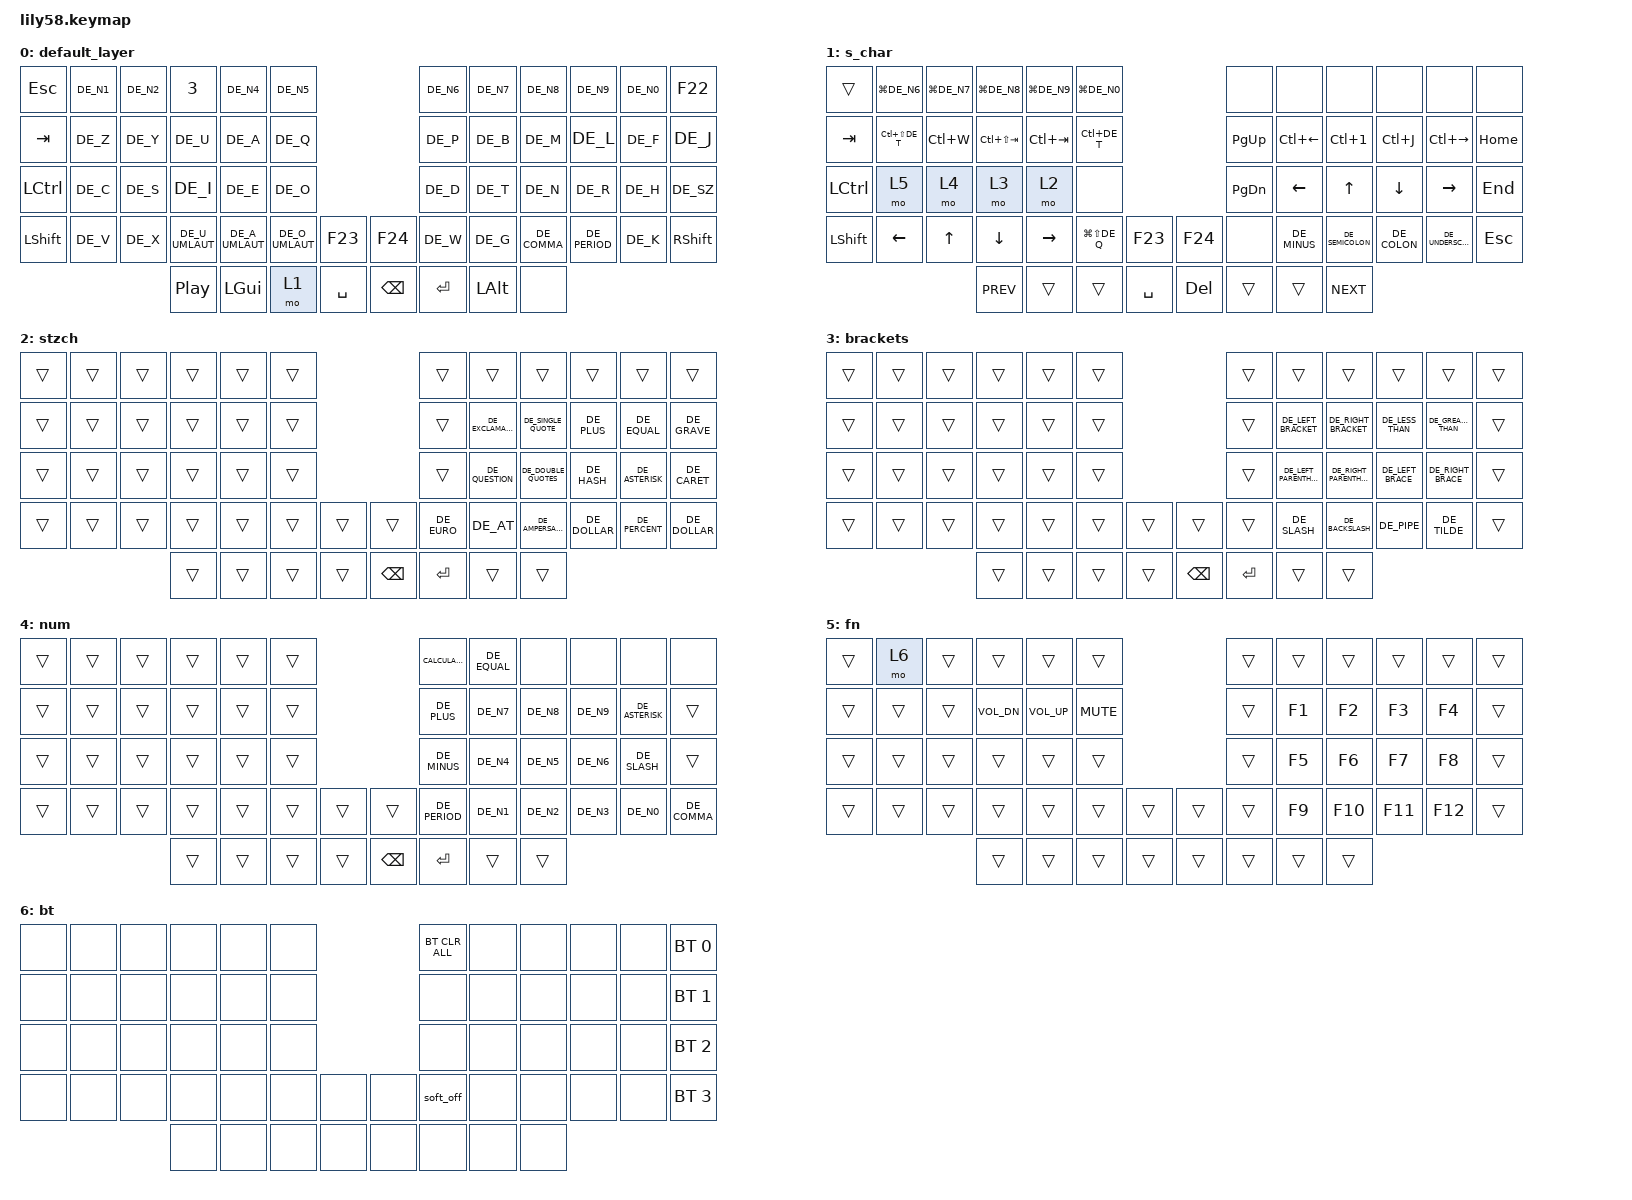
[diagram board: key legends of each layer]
/*
 * Copyright (c) 2020 The ZMK Contributors
 *
 * SPDX-License-Identifier: MIT
 */

#include <behaviors.dtsi>
#include <dt-bindings/zmk/bt.h>
#include <dt-bindings/zmk/keys.h>
#include "keys_de.h"
#include "zmk-helpers/helper.h"
#include "zmk-helpers/key-labels/lily58.h"

#define HOST_OS 1

/ {
    keymap {
        compatible = "zmk,keymap";

        default_layer {
            bindings = <
&kp ESC    &kp DE_N1  &kp DE_N2  &kp N3            &kp DE_N4        &kp DE_N5                                    &kp DE_N6  &kp DE_N7  &kp DE_N8     &kp DE_N9      &kp DE_N0  &kp F22
&kp TAB    &kp DE_Z   &kp DE_Y   &kp DE_U          &kp DE_A         &kp DE_Q                                     &kp DE_P   &kp DE_B   &kp DE_M      &kp DE_L       &kp DE_F   &kp DE_J
&kp LCTRL  &kp DE_C   &kp DE_S   &kp DE_I          &kp DE_E         &kp DE_O                                     &kp DE_D   &kp DE_T   &kp DE_N      &kp DE_R       &kp DE_H   &kp DE_SZ
&kp LSHFT  &kp DE_V   &kp DE_X   &kp DE_U_UMLAUT   &kp DE_A_UMLAUT  &kp DE_O_UMLAUT  &kp F23      &kp F24        &kp DE_W   &kp DE_G   &kp DE_COMMA  &kp DE_PERIOD  &kp DE_K   &kp RSHFT
                                 &kp C_PLAY_PAUSE  &kp LGUI         &mo 1            &kp SPACE    &kp BACKSPACE  &kp ENTER  &kp LALT   &none
            >;
        };

        s_char {
            bindings = <
&trans     &kp LG(DE_N6)     &kp LG(DE_N7)  &kp LG(DE_N8)    &kp LG(DE_N9)  &kp LG(DE_N0)                              &none      &none         &none             &none         &none              &none
&kp TAB    &kp LC(LS(DE_T))  &kp LC(W)      &kp LC(LS(TAB))  &kp LC(TAB)    &kp LC(DE_T)                               &kp PG_UP  &kp LC(LEFT)  &kp LC(NUMBER_1)  &kp LC(J)     &kp LC(RIGHT)      &kp HOME
&kp LCTRL  &mo 5             &mo 4          &mo 3            &mo 2          &none                                      &kp PG_DN  &kp LEFT      &kp UP            &kp DOWN      &kp RIGHT          &kp END
&kp LSHFT  &kp LEFT          &kp UP         &kp DOWN         &kp RIGHT      &kp LG(LS(DE_Q))  &kp F23      &kp F24     &none      &kp DE_MINUS  &kp DE_SEMICOLON  &kp DE_COLON  &kp DE_UNDERSCORE  &kp ESC
                                            &kp C_PREV       &trans         &trans            &kp SPACE    &kp DELETE  &trans     &trans        &kp C_NEXT
            >;
        };

        stzch {
            bindings = <
&trans  &trans  &trans  &trans  &trans  &trans                      &trans       &trans              &trans                &trans         &trans           &trans
&trans  &trans  &trans  &trans  &trans  &trans                      &trans       &kp DE_EXCLAMATION  &kp DE_SINGLE_QUOTE   &kp DE_PLUS    &kp DE_EQUAL     &kp DE_GRAVE
&trans  &trans  &trans  &trans  &trans  &trans                      &trans       &kp DE_QUESTION     &kp DE_DOUBLE_QUOTES  &kp DE_HASH    &kp DE_ASTERISK  &kp DE_CARET
&trans  &trans  &trans  &trans  &trans  &trans  &trans    &trans    &kp DE_EURO  &kp DE_AT           &kp DE_AMPERSAND      &kp DE_DOLLAR  &kp DE_PERCENT   &kp DE_DOLLAR
                        &trans  &trans  &trans  &trans    &kp BSPC  &kp ENTER    &trans              &trans
            >;
        };

        brackets {
            bindings = <
&trans  &trans  &trans  &trans  &trans  &trans                      &trans     &trans                   &trans                    &trans             &trans               &trans
&trans  &trans  &trans  &trans  &trans  &trans                      &trans     &kp DE_LEFT_BRACKET      &kp DE_RIGHT_BRACKET      &kp DE_LESS_THAN   &kp DE_GREATER_THAN  &trans
&trans  &trans  &trans  &trans  &trans  &trans                      &trans     &kp DE_LEFT_PARENTHESIS  &kp DE_RIGHT_PARENTHESIS  &kp DE_LEFT_BRACE  &kp DE_RIGHT_BRACE   &trans
&trans  &trans  &trans  &trans  &trans  &trans  &trans    &trans    &trans     &kp DE_SLASH             &kp DE_BACKSLASH          &kp DE_PIPE        &kp DE_TILDE         &trans
                        &trans  &trans  &trans  &trans    &kp BSPC  &kp ENTER  &trans                   &trans
            >;
        };

        num {
            bindings = <
&trans  &trans  &trans  &trans  &trans  &trans                      &kp K_CALCULATOR  &kp DE_EQUAL  &none      &none      &none            &none
&trans  &trans  &trans  &trans  &trans  &trans                      &kp DE_PLUS       &kp DE_N7     &kp DE_N8  &kp DE_N9  &kp DE_ASTERISK  &trans
&trans  &trans  &trans  &trans  &trans  &trans                      &kp DE_MINUS      &kp DE_N4     &kp DE_N5  &kp DE_N6  &kp DE_SLASH     &trans
&trans  &trans  &trans  &trans  &trans  &trans  &trans    &trans    &kp DE_PERIOD     &kp DE_N1     &kp DE_N2  &kp DE_N3  &kp DE_N0        &kp DE_COMMA
                        &trans  &trans  &trans  &trans    &kp BSPC  &kp ENTER         &trans        &trans
            >;
        };

        fn {
            bindings = <
&trans  &mo 6   &trans  &trans        &trans        &trans                        &trans  &trans  &trans   &trans   &trans   &trans
&trans  &trans  &trans  &kp C_VOL_DN  &kp C_VOL_UP  &kp C_MUTE                    &trans  &kp F1  &kp F2   &kp F3   &kp F4   &trans
&trans  &trans  &trans  &trans        &trans        &trans                        &trans  &kp F5  &kp F6   &kp F7   &kp F8   &trans
&trans  &trans  &trans  &trans        &trans        &trans      &trans    &trans  &trans  &kp F9  &kp F10  &kp F11  &kp F12  &trans
                        &trans        &trans        &trans      &trans    &trans  &trans  &trans  &trans
            >;
        };

        bt {
            bindings = <
&none  &none  &none  &none  &none  &none                  &bt BT_CLR_ALL  &none  &none  &none  &none  &bt BT_SEL 0
&none  &none  &none  &none  &none  &none                  &none           &none  &none  &none  &none  &bt BT_SEL 1
&none  &none  &none  &none  &none  &none                  &none           &none  &none  &none  &none  &bt BT_SEL 2
&none  &none  &none  &none  &none  &none  &none    &none  &soft_off       &none  &none  &none  &none  &bt BT_SEL 3
                     &none  &none  &none  &none    &none  &none           &none  &none
            >;
        };
    };
};
